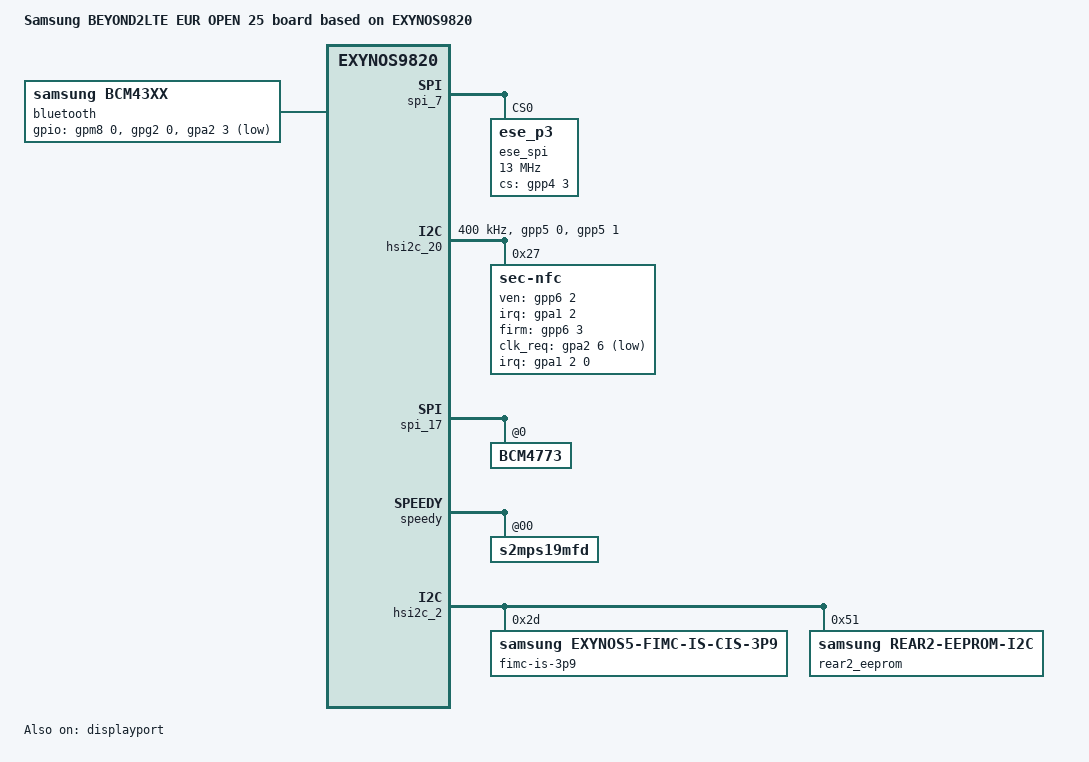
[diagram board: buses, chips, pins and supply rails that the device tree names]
/*
 * SAMSUNG EXYNOS9820 board device tree source
 *
 * Copyright (c) 2018 Samsung Electronics Co., Ltd.
 *		http://www.samsung.com
 *
 * This program is free software; you can redistribute it and/or modify
 * it under the terms of the GNU General Public License version 2 as
 * published by the Free Software Foundation.
*/

/dts-v1/;
/plugin/;
#include "exynos9820-sensorhub.dtsi"
#include "exynos9820-display-lcd.dtsi"
#include "battery_data_beyond2lte_19.dtsi"
#include "exynos9820-evt1-beyond2lte_motor.dtsi"
#include "exynos9820-evt1-beyond2lte_if-pmic-max77705.dtsi"
#include <dt-bindings/clock/exynos9820.h>
#include <dt-bindings/pci/pci.h>
#include "exynos9820-bootargs_ext.dtsi"
#include "exynos9820-beyond2lte_camera.dtsi"
#include "exynos9820-beyond2lte_common.dtsi"
#include "exynos9820-beyond2lte_fingerprint_00.dtsi"
#include "exynos9820-beyond2lte_eur_open_gpio_04.dtsi"
#include "exynos9820-beyond2lte_optics-r03.dtsi"

/ {
	compatible = "samsung,BEYOND2LTE EUR OPEN 25", "samsung,EXYNOS9820";
	dtbo-hw_rev = <25>;
   	dtbo-hw_rev_end = <25>;

	fragment@model {
		target-path = "/";
		__overlay__ {
			#address-cells = <2>;
			#size-cells = <1>;

			model = "Samsung BEYOND2LTE EUR OPEN 25 board based on EXYNOS9820";
			pinctrl@15850000 {
				bt_hostwake: bt-hostwake {
					samsung,pins = "gpa2-3";
					samsung,pin-function = <0>;
					samsung,pin-pud = <1>;
				};
			};
			pinctrl@10430000 {
				bt_btwake: bt-btwake {
					samsung,pins = "gpg2-0";
					samsung,pin-function = <1>;
					samsung,pin-pud = <0>;
					samsung,pin-con-pdn = <3>;
					samsung,pin-pud-pdn = <0>;
				};
			};

			pinctrl@15C30000 {
				bt_en: bt-en {
					samsung,pins = "gpm8-0";
					samsung,pin-function = <1>;
					samsung,pin-pud = <0>;
					samsung,pin-con-pdn = <3>;
					samsung,pin-pud-pdn = <0>;
				};
			};
			bluetooth {
				compatible = "samsung,bcm43xx";
				gpios = <&gpm8 0 0   /*BT_EN*/
				&gpg2 0 0    /*BT_WAKE*/
				&gpa2 3 0xF    /*BT_HOST_WAKE*/ >;
				pinctrl-names = "default";
				pinctrl-0=<&bt_hostwake &bt_btwake &bt_en>;
				status = "okay";
			};
		}; /* end of __overlay__ */
	}; /* end of fragment */

	fragment@camera {
		target-path = "/";
		__overlay__ {
			/* Ultra Wide CAMERA */
			fimc_is_sensor_3p9: fimc-is_sensor_3p9@2D {
				power_seq_id = <1>;
			};
		}; /* end of __overlay__ */
	}; /* end of fragment */
}; /* end of root */

&pinctrl_6 {
	spi7_bus_suspend: spi7-bus-suspend {
		samsung,pins = "gpp4-2", "gpp4-1", "gpp4-0";
		samsung,pin-function = <0>;	/* INPUT */
		samsung,pin-pud = <1>;		/* DOWN */
		samsung,pin-drv = <0>;
	};
	spi7_cs_suspend: spi7-cs-suspend {
		samsung,pins = "gpp4-3";
		samsung,pin-function = <0>;	/* INPUT */
		samsung,pin-pud = <1>;		/* DOWN */
		samsung,pin-drv = <0>;
	};
};

/* SPI USI_PERIC1_USI06_SPI */
&spi_7 {
	status = "okay";
	/delete-property/ pinctrl-names;
	/delete-property/ pinctrl-0;
	pinctrl-names = "ese_active", "ese_suspend";
	pinctrl-0 = <&spi7_bus &spi7_cs>;
	pinctrl-1 = <&spi7_bus_suspend &spi7_cs_suspend>;

	ese_spi@0 {
		compatible = "ese_p3";
		reg = <0>;
		spi-max-frequency = <13000000>;
		gpio-controller;
		#gpio-cells = <2>;

		p3-vdd-1p8= "VDD_ESE_1P8";

		clocks = <&clock GATE_USI06_USI>, <&clock DOUT_CLK_PERIC1_USI06_USI>;
		clock-names = "pclk", "sclk";
		ese_p3,cs-gpio = <&gpp4 3 0>;

		controller-data {
			samsung,spi-feedback-delay = <0>;
			samsung,spi-chip-select-mode = <0>;
		};
	};
};

&pinctrl_6 {
	nfc_en: nfc-en {
		samsung,pins = "gpp6-2";
		samsung,pin-function = <1>;
		samsung,pin-pud = <0>;
		samsung,pin-con-pdn = <3>;
		samsung,pin-pud-pdn = <0>;
		};

	nfc_firm: nfc-firm {
		samsung,pins = "gpp6-3";
		samsung,pin-function = <1>;
		samsung,pin-pud = <0>;
		samsung,pin-con-pdn = <3>;
		samsung,pin-pud-pdn = <0>;
		};
};

&hsi2c_20 {
	gpios = <&gpp5 0 0 &gpp5 1 0>;
	status = "okay";
	clock-frequency = <400000>;

	sec-nfc@27 {
		compatible = "sec-nfc";
		reg = <0x27>;

		interrupts = <2 0 0>;
		interrupt-parent = <&gpa1>;
		pinctrl-names = "default";
		pinctrl-0 = <&nfc_en &nfc_firm>;

		sec-nfc,ven-gpio = <&gpp6 2 0>;
		sec-nfc,irq-gpio = <&gpa1 2 0>;
		sec-nfc,firm-gpio = <&gpp6 3 0>;
		sec-nfc,clk_req-gpio = <&gpa2 6 0xf>;
		sec-nfc,clk_use = <2>;
		sec-nfc,nfc_pvdd = "VDD_NFC_1P8";

		clocks = <&clock OSC_NFC>;
		clock-names = "oscclk_nfc";
		sec-nfc,nfc_ap_clk;
		sec-nfc,ldo_control;
	};
};

&spi_17 {
	BCM4773@0 {
		ssp-acc-position = <4>;
		ssp-mag-position = <7>;
		ssp-mag-array = /bits/ 8 <193 82 169 237 158 66 0 53 212 56 205 152 167 141 1 203 255 180 190
					156 193 252 127 100 12 238 212>;
		ssp-thermi-up = /bits/ 16 <3022 2992 2954 2907 2849 2776 2694 2592 2471 2343 2196 2054 1893 1730
					1565 1399 1249 1107 1008 882 771 673 596>;
		ssp-thermi-sub = /bits/ 16 <3015 2985 2949 2905 2843 2772 2685 2581 2461 2334 2187 2043 1889 1722
					1560 1390 1242 1100 999 873 763 672 589>;
	};
};

&pinctrl_2 {
		shub_ap_int_copr: shub-ap-int-copr {
			samsung,pins = "gpm9-0";
			samsung,pin-function = <0>;
			samsung,pin-pud = <0>;
			samsung,pin-drv = <0>;
		};
};

&pinctrl_5 {
	aux_oe: aux-oe {
		samsung,pins = "gpg1-6";
		samsung,pin-function = <1>;
		samsung,pin-pud = <0>;
		samsung,pin-con-pdn = <3>;
		samsung,pin-pud-pdn = <0>;
		};

	sbu_sel: sbu-sel {
		samsung,pins = "gpg4-0";
		samsung,pin-function = <1>;
		samsung,pin-pud = <0>;
		samsung,pin-con-pdn = <3>;
		samsung,pin-pud-pdn = <0>;
		};
};

&displayport {
	status = "okay";
	dp,aux_sw_oe = <&gpg1 6 0>;
	dp,sbu_sw_sel = <&gpg4 0 0>;
	dp,usb_con_sel = <&gpg0 4 0>;

	pinctrl-names = "default";
	pinctrl-0 = <&aux_oe &sbu_sel>;
};

&speedy {
	s2mps19mfd@00 {
		smpl_warn_en = <1>; /* 1 : enable , 0 : disable */
		smpl_warn_dev2= <1>;
	};
};

/* PERIC1 CAM1 */
&hsi2c_1 {
	status = "disabled";
};
/* PERIC1 CAM2 */
&hsi2c_2 {
	#address-cells = <1>;
	#size-cells = <0>;

	fimc-is-3p9@2D {
		compatible = "samsung,exynos5-fimc-is-cis-3p9";
		reg = <0x2D>; /* 1 bit right shift */
		id = <4>; /* matching fimc_is_sensor id */
		setfile = "setA";
		status = "okay";
	};

	rear2_eeprom@51 { /* Ultra wide eeprom */
		compatible = "samsung,rear2-eeprom-i2c";
		reg = <0x51>;

		rom_power_position = <4>;
		rom_size = <0x4000>;
		cal_map_es_version = <10>;
		camera_module_es_version = "A";
		/*skip_cal_loading;*/

		/* Beyond_Rear_Cal_Map_V010_20180709_for_ALL */
		/* 0 header */
		header_crc_check_list = <0x0000 0x00FB 0x00FC>;
		/* 0 master LSC */
		/* 1 master all */
		crc_check_list = <0x0100 0x1AFB 0x1AFC
							0x2200 0x22DF 0x22FC>;

		/* Master */
		rom_header_version_start_addr = <0x40>;
		rom_header_cal_data_start_addr = <0x100>;

		rom_header_cal_map_ver_start_addr = <0x50>;
		rom_header_isp_setfile_ver_start_addr = <0x54>;
		rom_header_project_name_start_addr = <0x5E>;

		rom_header_module_id_addr = <0xAE>; /* 0xA8 + reserved bytes */
		rom_header_sensor_id_addr = <0xB8>;

		rom_header_mtf_data_addr = <0x66>;

		rom_awb_master_addr = <0x2200>;
		rom_awb_module_addr = <0x2224>;
	};
};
